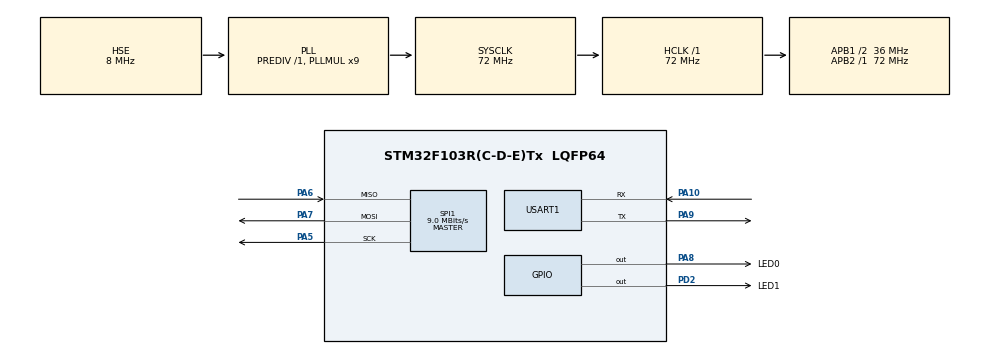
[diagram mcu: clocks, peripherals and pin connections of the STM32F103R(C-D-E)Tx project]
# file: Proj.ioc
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Mcu.Family=STM32F1
Mcu.Name=STM32F103R(C-D-E)Tx
Mcu.Package=LQFP64
NVIC.PriorityGroup=NVIC_PRIORITYGROUP_4
NVIC.TIM3_IRQn=true\:1\:0\:true\:false\:true\:true\:true\:true
NVIC.USART1_IRQn=true\:1\:0\:true\:false\:true\:true\:true\:true
PA10.Mode=Asynchronous
PA10.Signal=USART1_RX
PA13.Mode=Serial_Wire
PA13.Signal=SYS_JTMS-SWDIO
PA14.Mode=Serial_Wire
PA14.Signal=SYS_JTCK-SWCLK
PA5.Mode=Full_Duplex_Master
PA5.Signal=SPI1_SCK
PA6.Mode=Full_Duplex_Master
PA6.Signal=SPI1_MISO
PA7.Mode=Full_Duplex_Master
PA7.Signal=SPI1_MOSI
PA8.GPIO_Label=LED0
PA8.Signal=GPIO_Output
PA9.Mode=Asynchronous
PA9.Signal=USART1_TX
PD0-OSC_IN.Mode=HSE-External-Oscillator
PD0-OSC_IN.Signal=RCC_OSC_IN
PD1-OSC_OUT.Mode=HSE-External-Oscillator
PD1-OSC_OUT.Signal=RCC_OSC_OUT
PD2.GPIO_Label=LED1
PD2.Signal=GPIO_Output
ProjectManager.HeapSize=0x200
ProjectManager.StackSize=0x400
ProjectManager.TargetToolchain=STM32CubeIDE
RCC.AHBFreq_Value=72000000
RCC.APB1CLKDivider=RCC_HCLK_DIV2
RCC.APB1Freq_Value=36000000
RCC.APB1TimFreq_Value=72000000
RCC.APB2Freq_Value=72000000
RCC.APB2TimFreq_Value=72000000
RCC.HCLKFreq_Value=72000000
RCC.PLLMUL=RCC_PLL_MUL9
RCC.PLLSourceVirtual=RCC_PLLSOURCE_HSE
RCC.SYSCLKFreq_VALUE=72000000
RCC.SYSCLKSource=RCC_SYSCLKSOURCE_PLLCLK
RCC.USBFreq_Value=72000000
SPI1.BaudRatePrescaler=SPI_BAUDRATEPRESCALER_8
SPI1.CalculateBaudRate=9.0 MBits/s
SPI1.Direction=SPI_DIRECTION_2LINES
SPI1.Mode=SPI_MODE_MASTER
SPI1.VirtualType=VM_MASTER
TIM3.CounterMode=TIM_COUNTERMODE_UP
TIM3.Period=9999
TIM3.Prescaler=7199
USART1.VirtualMode=VM_ASYNC
VP_TIM3_VS_ClockSourceINT.Mode=Internal
board=custom

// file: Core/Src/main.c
/* USER CODE BEGIN Header */
/**
  ******************************************************************************
  * @file           : main.c
  * @brief          : Main program body
  ******************************************************************************
  * @attention
  *
  * Copyright (c) 2022 STMicroelectronics.
  * All rights reserved.
  *
  * This software is licensed under terms that can be found in the LICENSE file
  * in the root directory of this software component.
  * If no LICENSE file comes with this software, it is provided AS-IS.
  *
  ******************************************************************************
  */
/* USER CODE END Header */
#include "main.h"

/* USER CODE BEGIN Includes */
#include "characters.h"
#include "turnMethods.h"
/* Private includes ----------------------------------------------------------*/
/* USER CODE BEGIN Includes */
#include "sys.h"
#include "delay.h"
//#include "usart.h"
#include "led.h"
#include "key.h"
#include "lcd.h"
//#include "usmart.h"
#include "touch.h"
#include "24cxx.h"
#include "24l01.h" //通信驱动 基于spi进行通信
//#include "remote.h" 红外遥控驱动
/* USER CODE END Includes */

/* USER CODE BEGIN PTD */
extern unsigned char uRx_Data[1024];
extern unsigned char uLength;
/* 变量*/
int round = 0;
int getInstruction = -1;
uint8_t rxBuffer[20];
unsigned char info[1024];
// 玩家自己当下的属性显�??
extern struct character *thisTurnPlayer;
extern struct character *thisTurnEnemy;

extern unsigned char bmp_pika;// 皮卡丘头�??
extern unsigned char bmp_monster; // monster头像
extern unsigned char bmp_dragon;
extern unsigned char bmp_sword;
extern unsigned char bmp_bag;
extern unsigned char bmp_ability;
extern unsigned char bmp_run;

struct character A;
struct character B;
struct character Enemy;

struct skill A_skill[4];
struct skill B_skill[4];
struct item item[4];
// 总共有三个界面
int menu=1;

// mode=1我的回合
u8 key,mode;
u16 t=0;
u8 tmp_buf[33];
/* USER CODE END PTD */

/* USER CODE BEGIN PD */
unsigned char DATA_TO_SEND[800];
int state_num = 0;
u8 STATE[30];
UART_HandleTypeDef huart1;
/* USER CODE END PD */

/* USER CODE BEGIN PM */
//清空屏幕并在右上角显�???"RST"
void Load_Drow_Dialog(void)
{
	LCD_Clear(WHITE);//清屏
 	POINT_COLOR=BLUE;//设置字体为蓝�???
	LCD_ShowString(lcddev.width-24,0,200,16,16,"RST");//显示清屏区域
  	POINT_COLOR=RED;//设置画笔蓝色
}
////////////////////////////////////////////////////////////////////////////////
//电容触摸屏专有部�???
//画水平线
//x0,y0:坐标
//len:线长�???
//color:颜色
void gui_draw_hline(u16 x0,u16 y0,u16 len,u16 color)
{
	if(len==0)return;
	LCD_Fill(x0,y0,x0+len-1,y0,color);
}
//画实心圆
//x0,y0:坐标
//r:半径
//color:颜色
void gui_fill_circle(u16 x0,u16 y0,u16 r,u16 color)
{
	u32 i;
	u32 imax = ((u32)r*707)/1000+1;
	u32 sqmax = (u32)r*(u32)r+(u32)r/2;
	u32 x=r;
	gui_draw_hline(x0-r,y0,2*r,color);
	for (i=1;i<=imax;i++)
	{
		if ((i*i+x*x)>sqmax)// draw lines from outside
		{
 			if (x>imax)
			{
				gui_draw_hline (x0-i+1,y0+x,2*(i-1),color);
				gui_draw_hline (x0-i+1,y0-x,2*(i-1),color);
			}
			x--;
		}
		// draw lines from inside (center)
		gui_draw_hline(x0-x,y0+i,2*x,color);
		gui_draw_hline(x0-x,y0-i,2*x,color);
	}
}
//两个数之差的绝对�???
//x1,x2：需取差值的两个�???
//返回值：|x1-x2|
u16 my_abs(u16 x1,u16 x2)
{
	if(x1>x2)return x1-x2;
	else return x2-x1;
}
//画一条粗�???
//(x1,y1),(x2,y2):线条的起始坐�???
//size：线条的粗细程度
//color：线条的颜色

void screen_print(){
	LCD_Clear(WHITE);//清屏
	POINT_COLOR=BLUE;//设置字体为蓝�??
	LCD_ShowString(lcddev.width-24,0,200,16,16,"RST");//显示清屏区域
	// HP
	if(thisTurnPlayer==&A){
	sprintf(DATA_TO_SEND, "HP: %d",A.HP);
	LCD_ShowString(0,100,200,16,16, DATA_TO_SEND);
	}else{
		sprintf(DATA_TO_SEND, "HP: %d",B.HP);
		LCD_ShowString(0,100,200,16,16, DATA_TO_SEND);
	}

	sprintf(DATA_TO_SEND, "HP: %d",Enemy.HP);
	LCD_ShowString(121,100,200,16,16, DATA_TO_SEND);
	//防御
	if(thisTurnPlayer==&A){
	sprintf(DATA_TO_SEND, "Defense: %d",A.DEF);
	LCD_ShowString(0,120,200,16,16, DATA_TO_SEND);
	}else{
		sprintf(DATA_TO_SEND, "Defense: %d",B.DEF);
		LCD_ShowString(0,120,200,16,16, DATA_TO_SEND);
	}
	sprintf(DATA_TO_SEND, "Defense: %d",Enemy.DEF);
	LCD_ShowString(121,120,200,16,16, DATA_TO_SEND);
	//攻击
	if(thisTurnPlayer==&A){
	sprintf(DATA_TO_SEND, "Attack: %d",A.ATK);
	LCD_ShowString(0,140,200,16,16, DATA_TO_SEND);
	}else{
		sprintf(DATA_TO_SEND, "Attack: %d",B.ATK);
		LCD_ShowString(0,140,200,16,16, DATA_TO_SEND);
	}
	sprintf(DATA_TO_SEND, "Attack: %d",Enemy.ATK);
	LCD_ShowString(121,140,200,16,16, DATA_TO_SEND);
	//名字
	if(thisTurnPlayer==&A){
	sprintf(DATA_TO_SEND, "Name: %s",A.name);
	LCD_ShowString(0,160,200,16,16, DATA_TO_SEND);
	}else{
		sprintf(DATA_TO_SEND, "Name: %s",B.name);
		LCD_ShowString(0,160,200,16,16, DATA_TO_SEND);
	}
	sprintf(DATA_TO_SEND, "Name: %s",Enemy.name);
	LCD_ShowString(121,160,200,16,16, DATA_TO_SEND);
	//法力
	if(thisTurnPlayer==&A){
	sprintf(DATA_TO_SEND, "MP: %d",A.MP);
	LCD_ShowString(0,180,200,16,16, DATA_TO_SEND);
	}else{
		sprintf(DATA_TO_SEND, "MP: %d",B.MP);
		LCD_ShowString(0,180,200,16,16, DATA_TO_SEND);
	}
	sprintf(DATA_TO_SEND, "MP: %d",Enemy.MP);
	LCD_ShowString(121,180,200,16,16, DATA_TO_SEND);

	LCD_ShowString(0, lcddev.height-24, 200, 16, 16, STATE);

	// 绘制游戏界面
	LCD_DrawLine(0,270,240,270);// �??个横�??
	LCD_DrawLine(120,0,120,320);//三个竖线
	LCD_DrawLine(60,270,60,320);
	LCD_DrawLine(180,270,180,320);

	// 绘制角色
	// 绘制自己角色
	if (thisTurnPlayer==&A){
		LCD_ShowPika(0,0,(u8 **)bmp_pika,80,100,1);
	}else if(thisTurnPlayer==&B){
		LCD_ShowMonster(0,0,(u8 **)bmp_monster,80,100,1);
	}
	// 绘制对手角色
	if(thisTurnEnemy==&A){
		LCD_ShowPika(120,0,(u8 **)bmp_pika,80,100,1);
	}else if(thisTurnEnemy==&B){
		LCD_ShowMonster(120,0,(u8 **)bmp_monster,80,100,1);
	}

	LCD_ShowSword(10,270,(u8 **)bmp_sword,40,25,1);
	LCD_ShowAbility(75,270,(u8 **)bmp_ability,40,25,1);
	LCD_ShowBag(190,270,(u8 **)bmp_bag,40,25,1);
	LCD_ShowRun(120,270,(u8 **)bmp_run,40,25,1);

	POINT_COLOR=RED;//设置画笔为红�??

}

void screen_norm_print(){
//	LCD_Clear(WHITE);//清屏
	POINT_COLOR=BLUE;//设置字体为蓝�??
	LCD_ShowString(lcddev.width-24,0,200,16,16,"RST");//显示清屏区域

	// HP
	if(thisTurnPlayer==&A){
	sprintf(DATA_TO_SEND, "HP: %d",A.HP);
	LCD_ShowString(0,100,200,16,16, DATA_TO_SEND);
	}else{
		sprintf(DATA_TO_SEND, "HP: %d",B.HP);
		LCD_ShowString(0,100,200,16,16, DATA_TO_SEND);
	}

	sprintf(DATA_TO_SEND, "HP: %d",Enemy.HP);
	LCD_ShowString(121,100,200,16,16, DATA_TO_SEND);
	//防御
	if(thisTurnPlayer==&A){
	sprintf(DATA_TO_SEND, "Defense: %d",A.DEF);
	LCD_ShowString(0,120,200,16,16, DATA_TO_SEND);
	}else{
		sprintf(DATA_TO_SEND, "Defense: %d",B.DEF);
		LCD_ShowString(0,120,200,16,16, DATA_TO_SEND);
	}
	sprintf(DATA_TO_SEND, "Defense: %d",Enemy.DEF);
	LCD_ShowString(121,120,200,16,16, DATA_TO_SEND);
	//攻击
	if(thisTurnPlayer==&A){
	sprintf(DATA_TO_SEND, "Attack: %d",A.ATK);
	LCD_ShowString(0,140,200,16,16, DATA_TO_SEND);
	}else{
		sprintf(DATA_TO_SEND, "Attack: %d",B.ATK);
		LCD_ShowString(0,140,200,16,16, DATA_TO_SEND);
	}
	sprintf(DATA_TO_SEND, "Attack: %d",Enemy.ATK);
	LCD_ShowString(121,140,200,16,16, DATA_TO_SEND);
	//名字
	if(thisTurnPlayer==&A){
	sprintf(DATA_TO_SEND, "Name: %s",A.name);
	LCD_ShowString(0,160,200,16,16, DATA_TO_SEND);
	}else{
		sprintf(DATA_TO_SEND, "Name: %s",B.name);
		LCD_ShowString(0,160,200,16,16, DATA_TO_SEND);
	}
	sprintf(DATA_TO_SEND, "Name: %s",Enemy.name);
	LCD_ShowString(121,160,200,16,16, DATA_TO_SEND);
	//法力
	if(thisTurnPlayer==&A){
	sprintf(DATA_TO_SEND, "MP: %d",A.MP);
	LCD_ShowString(0,180,200,16,16, DATA_TO_SEND);
	}else{
		sprintf(DATA_TO_SEND, "MP: %d",B.MP);
		LCD_ShowString(0,180,200,16,16, DATA_TO_SEND);
	}
	sprintf(DATA_TO_SEND, "MP: %d",Enemy.MP);
	LCD_ShowString(121,180,200,16,16, DATA_TO_SEND);

	// 回合
	if(mode==1){
		sprintf(DATA_TO_SEND, "Your Turn!");
		LCD_ShowString(0,200,200,16,16, DATA_TO_SEND);
	}else{
		sprintf(DATA_TO_SEND, "Your Turn!");
		LCD_ShowString(121,200,200,16,16, DATA_TO_SEND);
	}

	LCD_ShowString(0, lcddev.height-24, 200, 16, 16, STATE);

	// 绘制游戏界面
	LCD_DrawLine(0,270,240,270);// �??个横�??
	LCD_DrawLine(120,0,120,320);//三个竖线
	LCD_DrawLine(60,270,60,320);
	LCD_DrawLine(180,270,180,320);

	// 绘制自己角色
	if (thisTurnPlayer==&A){
		LCD_ShowPika(0,0,(u8 **)bmp_pika,80,100,1);
	}else if(thisTurnPlayer==&B){
		LCD_ShowMonster(0,0,(u8 **)bmp_monster,80,100,1);
	}
	// 绘制对手角色
	if(thisTurnEnemy==&A){
		LCD_ShowPika(120,0,(u8 **)bmp_pika,80,100,1);
	}else if(thisTurnEnemy==&B){
		LCD_ShowMonster(120,0,(u8 **)bmp_monster,80,100,1);
	}

	// 绘制图标
	LCD_ShowSword(10,270,(u8 **)bmp_sword,40,25,1);// nengli
	LCD_ShowAbility(75,270,(u8 **)bmp_ability,40,25,1);// huan ren
	LCD_ShowBag(190,270,(u8 **)bmp_bag,40,25,1);// bag
	LCD_ShowRun(120,270,(u8 **)bmp_run,40,25,1);// run

	POINT_COLOR=RED;//设置画笔为红�??

}

void screen_menu2_print(){//第二个界�??

		POINT_COLOR=BLUE;//设置字体为蓝�??
		LCD_ShowString(lcddev.width-24,0,200,16,16,"RST");//显示清屏区域

		// HP
		if(thisTurnPlayer==&A){
		sprintf(DATA_TO_SEND, "HP: %d",A.HP);
		LCD_ShowString(0,100,200,16,16, DATA_TO_SEND);
		}else{
			sprintf(DATA_TO_SEND, "HP: %d",B.HP);
			LCD_ShowString(0,100,200,16,16, DATA_TO_SEND);
		}

		sprintf(DATA_TO_SEND, "HP: %d",Enemy.HP);
		LCD_ShowString(121,100,200,16,16, DATA_TO_SEND);
		//防御
		if(thisTurnPlayer==&A){
		sprintf(DATA_TO_SEND, "Defense: %d",A.DEF);
		LCD_ShowString(0,120,200,16,16, DATA_TO_SEND);
		}else{
			sprintf(DATA_TO_SEND, "Defense: %d",B.DEF);
			LCD_ShowString(0,120,200,16,16, DATA_TO_SEND);
		}
		sprintf(DATA_TO_SEND, "Defense: %d",Enemy.DEF);
		LCD_ShowString(121,120,200,16,16, DATA_TO_SEND);
		//攻击
		if(thisTurnPlayer==&A){
		sprintf(DATA_TO_SEND, "Attack: %d",A.ATK);
		LCD_ShowString(0,140,200,16,16, DATA_TO_SEND);
		}else{
			sprintf(DATA_TO_SEND, "Attack: %d",B.ATK);
			LCD_ShowString(0,140,200,16,16, DATA_TO_SEND);
		}
		sprintf(DATA_TO_SEND, "Attack: %d",Enemy.ATK);
		LCD_ShowString(121,140,200,16,16, DATA_TO_SEND);
		//名字
		if(thisTurnPlayer==&A){
		sprintf(DATA_TO_SEND, "Name: %s",A.name);
		LCD_ShowString(0,160,200,16,16, DATA_TO_SEND);
		}else{
			sprintf(DATA_TO_SEND, "Name: %s",B.name);
			LCD_ShowString(0,160,200,16,16, DATA_TO_SEND);
		}
		sprintf(DATA_TO_SEND, "Name: %s",Enemy.name);
		LCD_ShowString(121,160,200,16,16, DATA_TO_SEND);
		//法力
		if(thisTurnPlayer==&A){
		sprintf(DATA_TO_SEND, "MP: %d",A.MP);
		LCD_ShowString(0,180,200,16,16, DATA_TO_SEND);
		}else{
			sprintf(DATA_TO_SEND, "MP: %d",B.MP);
			LCD_ShowString(0,180,200,16,16, DATA_TO_SEND);
		}
		sprintf(DATA_TO_SEND, "MP: %d",Enemy.MP);
		LCD_ShowString(121,180,200,16,16, DATA_TO_SEND);

		LCD_ShowString(0, lcddev.height-24, 200, 16, 16, STATE);

		// 绘制游戏界面
		LCD_DrawLine(0,270,240,270);// �??个横�??
		LCD_DrawLine(120,0,120,320);//三个竖线
		LCD_DrawLine(60,270,60,320);
		LCD_DrawLine(180,270,180,320);

		// 绘制自己角色
		if (thisTurnPlayer==&A){
			LCD_ShowPika(0,0,(u8 **)bmp_pika,80,100,1);
		}else if(thisTurnPlayer==&B){
			LCD_ShowMonster(0,0,(u8 **)bmp_monster,80,100,1);
		}
		// 绘制对手角色
		if(thisTurnEnemy==&A){
			LCD_ShowPika(120,0,(u8 **)bmp_pika,80,100,1);
		}else if(thisTurnEnemy==&B){
			LCD_ShowMonster(120,0,(u8 **)bmp_monster,80,100,1);
		}

		// ability
		if(thisTurnPlayer==&A){
			LCD_ShowString(1,280,200,16,16, A_skill[0].name);
		}else{
			LCD_ShowString(1,280,200,16,16, B_skill[0].name);
		}
		if(thisTurnPlayer==&A){
			LCD_ShowString(61,280,200,16,16, A_skill[1].name);
			}else{
			LCD_ShowString(61,280,200,16,16, B_skill[1].name);
		}
		if(thisTurnPlayer==&A){
			LCD_ShowString(121,280,200,16,16, A_skill[2].name);
		}else{
			LCD_ShowString(121,280,200,16,16, B_skill[2].name);
		}

		sprintf(DATA_TO_SEND, "EXIT");
		LCD_ShowString(181,280,200,16,16, DATA_TO_SEND);

		POINT_COLOR=RED;//设置画笔为红�??
}
void screen_menu3_print(){//第三个界�??

		POINT_COLOR=BLUE;//设置字体为蓝�??
		LCD_ShowString(lcddev.width-24,0,200,16,16,"RST");//显示清屏区域

		// HP
		if(thisTurnPlayer==&A){
		sprintf(DATA_TO_SEND, "HP: %d",A.HP);
		LCD_ShowString(0,100,200,16,16, DATA_TO_SEND);
		}else{
			sprintf(DATA_TO_SEND, "HP: %d",B.HP);
			LCD_ShowString(0,100,200,16,16, DATA_TO_SEND);
		}

		sprintf(DATA_TO_SEND, "HP: %d",Enemy.HP);
		LCD_ShowString(121,100,200,16,16, DATA_TO_SEND);
		//防御
		if(thisTurnPlayer==&A){
		sprintf(DATA_TO_SEND, "Defense: %d",A.DEF);
		LCD_ShowString(0,120,200,16,16, DATA_TO_SEND);
		}else{
			sprintf(DATA_TO_SEND, "Defense: %d",B.DEF);
			LCD_ShowString(0,120,200,16,16, DATA_TO_SEND);
		}
		sprintf(DATA_TO_SEND, "Defense: %d",Enemy.DEF);
		LCD_ShowString(121,120,200,16,16, DATA_TO_SEND);
		//攻击
		if(thisTurnPlayer==&A){
		sprintf(DATA_TO_SEND, "Attack: %d",A.ATK);
		LCD_ShowString(0,140,200,16,16, DATA_TO_SEND);
		}else{
			sprintf(DATA_TO_SEND, "Attack: %d",B.ATK);
			LCD_ShowString(0,140,200,16,16, DATA_TO_SEND);
		}
		sprintf(DATA_TO_SEND, "Attack: %d",Enemy.ATK);
		LCD_ShowString(121,140,200,16,16, DATA_TO_SEND);
		//名字
		if(thisTurnPlayer==&A){
		sprintf(DATA_TO_SEND, "Name: %s",A.name);
		LCD_ShowString(0,160,200,16,16, DATA_TO_SEND);
		}else{
			sprintf(DATA_TO_SEND, "Name: %s",B.name);
			LCD_ShowString(0,160,200,16,16, DATA_TO_SEND);
		}
		sprintf(DATA_TO_SEND, "Name: %s",Enemy.name);
		LCD_ShowString(121,160,200,16,16, DATA_TO_SEND);
		//法力
		if(thisTurnPlayer==&A){
		sprintf(DATA_TO_SEND, "MP: %d",A.MP);
		LCD_ShowString(0,180,200,16,16, DATA_TO_SEND);
		}else{
			sprintf(DATA_TO_SEND, "MP: %d",B.MP);
			LCD_ShowString(0,180,200,16,16, DATA_TO_SEND);
		}
		sprintf(DATA_TO_SEND, "MP: %d",Enemy.MP);
		LCD_ShowString(121,180,200,16,16, DATA_TO_SEND);

		LCD_ShowString(0, lcddev.height-24, 200, 16, 16, STATE);

		// 绘制游戏界面
		LCD_DrawLine(0,270,240,270);// �??个横�??
		LCD_DrawLine(120,0,120,320);//三个竖线
		LCD_DrawLine(60,270,60,320);
		LCD_DrawLine(180,270,180,320);

		// 绘制角色，图�??
		// 绘制自己角色
		if (thisTurnPlayer==&A){
			LCD_ShowPika(0,0,(u8 **)bmp_pika,80,100,1);
		}else if(thisTurnPlayer==&B){
			LCD_ShowMonster(0,0,(u8 **)bmp_monster,80,100,1);
		}
		// 绘制对手角色
		if(thisTurnEnemy==&A){
			LCD_ShowPika(120,0,(u8 **)bmp_pika,80,100,1);
		}else if(thisTurnEnemy==&B){
			LCD_ShowMonster(120,0,(u8 **)bmp_monster,80,100,1);
		}
		//bag
		LCD_ShowString(1,280,200,16,16, item[0].name);
		LCD_ShowString(61,280,200,16,16, item[1].name);
		LCD_ShowString(121,280,200,16,16, item[2].name);
		sprintf(DATA_TO_SEND, "EXIT");
		LCD_ShowString(181,280,200,16,16, DATA_TO_SEND);
		POINT_COLOR=RED;//设置画笔为红�??
}

void change_state(){
	if(state_num == 0){
		state_num = 1;
		sprintf(STATE, "STATE: ON");
	}else{
		state_num = 0;
		sprintf(STATE, "STATE: OFF");
	}
}
//通信部分
void modeSwitch(void)
{
		if(mode == 0){ //µ±Ç°Îª½ÓÊÜÄ£Ê½
			mode++;
			NRF24L01_TX_Mode(0);

		}else if(mode == 1){ //µ±Ç°Îª·¢ËÍÄ£Ê½
			mode = 0;
			NRF24L01_RX_Mode(0);
		}

	}

void sendData(u8 a, u8 b, u8 c){
	 	key = 0;
		while(1)
		{
			if(NRF24L01_TxPacket(tmp_buf)==TX_OK)
			{
				LCD_ShowString(60,170,239,32,16,"Sended DATA:");
				LCD_ShowString(0,190,239,32,16,tmp_buf);
				key++;

				tmp_buf[0]=a;
				tmp_buf[1]=b;
				tmp_buf[2]=c;

				tmp_buf[32]=0;//¼ÓÈë½áÊø·û
					if(key ==2){ //Ñ­»·Á½´Î·ÀÖ¹Ã»·¢³É¹¦
						modeSwitch();
						break;
					}

			}else
			{
 				LCD_ShowString(60,170,239,32,16,"Send Failed ");
				LCD_Fill(0,188,240,218,WHITE);//Çå¿ÕÉÏÃæµÄÏÔÊ¾
			};
			LED0=!LED0;
			delay_ms(1500);
		};
 }

 void receiveData(void){
	 while(1){
	 if(NRF24L01_RxPacket(tmp_buf)==0)//Ò»µ©½ÓÊÕµ½ÐÅÏ¢,ÔòÏÔÊ¾³öÀ´.
			{
		//receive data code  处理tmp_buf前三位数据

				break;
			}
		}
	 modeSwitch();
 }

//
void lcd_draw_bline(u16 x1, u16 y1, u16 x2, u16 y2,u8 size,u16 color)
{
	u16 t;
	int xerr=0,yerr=0,delta_x,delta_y,distance;
	int incx,incy,uRow,uCol;
	if(x1<size|| x2<size||y1<size|| y2<size)return;
	delta_x=x2-x1; //计算坐标增量
	delta_y=y2-y1;
	uRow=x1;
	uCol=y1;
	if(delta_x>0)incx=1; //设置单步方向
	else if(delta_x==0)incx=0;//垂直�???
	else {incx=-1;delta_x=-delta_x;}
	if(delta_y>0)incy=1;
	else if(delta_y==0)incy=0;//水平�???
	else{incy=-1;delta_y=-delta_y;}
	if( delta_x>delta_y)distance=delta_x; //选取基本增量坐标�???
	else distance=delta_y;
	for(t=0;t<=distance+1;t++ )//画线输出
	{
		gui_fill_circle(uRow,uCol,size,color);//画点
		xerr+=delta_x ;
		yerr+=delta_y ;
		if(xerr>distance)
		{
			xerr-=distance;
			uRow+=incx;
		}
		if(yerr>distance)
		{
			yerr-=distance;
			uCol+=incy;
		}
	}
}
////////////////////////////////////////////////////////////////////////////////
//5个触控点的颜�???(电容触摸屏用)
const u16 POINT_COLOR_TBL[5]={RED,GREEN,BLUE,BROWN,GRED};

//电阻触摸屏测试函�???
void rtp_test(void)
{
	u8 key;
	u8 i=0;
	while(1)
	{
	 	key=KEY_Scan(0);
		tp_dev.scan(0);
		if(menu==1){
			screen_norm_print();
		}else if(menu==2){
			screen_menu2_print();
		}else if(menu==3){
			screen_menu3_print();
		}

		if(tp_dev.sta&TP_PRES_DOWN)			//触摸屏被按下
		{
		 	if(tp_dev.x[0]<lcddev.width&&tp_dev.y[0]<lcddev.height)
			{
				if(tp_dev.x[0]>(lcddev.width-24)&&tp_dev.y[0]<16){
					screen_print();//清除
				}
				else if(tp_dev.x[0]>0&&tp_dev.y[0]>270&&tp_dev.x[0]<60&&tp_dev.y[0]<lcddev.height){
					// �??1的按�??
					if(menu==1){
						LCD_Clear(WHITE);//清屏
						screen_menu2_print();//到界�??2
						menu=2;
						getInstruction = 0; //
					}else if(menu==2){
						//�??1�??�??
						int tempval;
						if(thisTurnPlayer==&A){
							struct skill *Sp;
							Sp = &A_skill[0];
							if (judgeMP(thisTurnPlayer, Sp)){
								tempval = attackSkill(thisTurnPlayer, Sp);//将该值用通信传出
								beAttacked(thisTurnEnemy, tempval);
								normailzeATKValue(thisTurnPlayer);

								printCharaterState();
								getInstruction = -1;
								round++;
								menu=1;
								LCD_Clear(WHITE);//清屏
							}
						}else{
							struct skill *Sp;
							Sp = &B_skill[0];
							if (judgeMP(thisTurnPlayer, Sp)){
								tempval = attackSkill(thisTurnPlayer, Sp);//将该值用通信传出
								beAttacked(thisTurnEnemy, tempval);
								normailzeATKValue(thisTurnPlayer);

								printCharaterState();
								getInstruction = -1;
								round++;
								menu=1;
								LCD_Clear(WHITE);//清屏
							}
						}

						sprintf(DATA_TO_SEND, "using ability1");
						HAL_UART_Transmit(&huart1, (uint8_t*)DATA_TO_SEND, strlen(DATA_TO_SEND), HAL_MAX_DELAY);

					}else if(menu==3){
						struct item *Ip;
						Ip = &item[0];
						if(judgeCount(Ip)){
							useItem(thisTurnPlayer,Ip);

							printCharaterState();
							getInstruction = -1;
							round++;
							menu=1;
							LCD_Clear(WHITE);//清屏
						}
						sprintf(DATA_TO_SEND, "using item1");
						HAL_UART_Transmit(&huart1, (uint8_t*)DATA_TO_SEND, strlen(DATA_TO_SEND), HAL_MAX_DELAY);
					}
				}
				else if(tp_dev.x[0]>60&&tp_dev.y[0]>270&&tp_dev.x[0]<120&&tp_dev.y[0]<lcddev.height){
					// �??2的按�??
					if(menu==1){
						// 换人
						sprintf(DATA_TO_SEND, "exchange");
						HAL_UART_Transmit(&huart1, (uint8_t*)DATA_TO_SEND, strlen(DATA_TO_SEND), HAL_MAX_DELAY);
						getInstruction = 2;
						changeCharacter();
						LCD_Clear(WHITE);//清屏
					}else if(menu==2){
						if(thisTurnPlayer==&A){
							struct skill *Sp;
							Sp = &A_skill[1];
							if (judgeMP(thisTurnPlayer, Sp)){
								int tempval;
								tempval = attackSkill(thisTurnPlayer, Sp);//将该值用通信传出
								beAttacked(thisTurnEnemy, tempval);
								normailzeATKValue(thisTurnPlayer);

								printCharaterState();
								getInstruction = -1;
								round++;
								menu=1;
								LCD_Clear(WHITE);//清屏
							}
						}else{
							struct skill *Sp;
							Sp = &B_skill[1];
							if (judgeMP(thisTurnPlayer, Sp)){
								int tempval;
								tempval = attackSkill(thisTurnPlayer, Sp);//将该值用通信传出
								beAttacked(thisTurnEnemy, tempval);
								normailzeATKValue(thisTurnPlayer);

								printCharaterState();
								getInstruction = -1;
								round++;
								menu=1;
								LCD_Clear(WHITE);//清屏
							}
						}

						sprintf(DATA_TO_SEND, "using ability2");
						HAL_UART_Transmit(&huart1, (uint8_t*)DATA_TO_SEND, strlen(DATA_TO_SEND), HAL_MAX_DELAY);

					}else if(menu==3){

						struct item *Ip;
						Ip = &item[1];
						if(judgeCount(Ip)){
							useItem(thisTurnPlayer,Ip);

							printCharaterState();
							getInstruction = -1;
							round++;
							menu=1;
							LCD_Clear(WHITE);//清屏
						}
						sprintf(DATA_TO_SEND, "using item2");
						HAL_UART_Transmit(&huart1, (uint8_t*)DATA_TO_SEND, strlen(DATA_TO_SEND), HAL_MAX_DELAY);

					}

				}else if(tp_dev.x[0]>120&&tp_dev.y[0]>270&&tp_dev.x[0]<180&&tp_dev.y[0]<lcddev.height){

					if(menu==1){
						getInstruction = 3;
						sprintf(DATA_TO_SEND, "escape");
						HAL_UART_Transmit(&huart1, (uint8_t*)DATA_TO_SEND, strlen(DATA_TO_SEND), HAL_MAX_DELAY);
						LCD_Clear(WHITE);//清屏
					}else if(menu==2){
						if(thisTurnPlayer==&A){
							struct skill *Sp;
							Sp = &A_skill[2];
							if (judgeMP(thisTurnPlayer, Sp)){
								int tempval;
								tempval = attackSkill(thisTurnPlayer, Sp);//将该值用通信传出
								beAttacked(thisTurnEnemy, tempval);
								normailzeATKValue(thisTurnPlayer);

								printCharaterState();
								getInstruction = -1;
								round++;
								menu=1;
								LCD_Clear(WHITE);//清屏
							}
						}else{
							struct skill *Sp;
							Sp = &B_skill[2];
							if (judgeMP(thisTurnPlayer, Sp)){
								int tempval;
								tempval = attackSkill(thisTurnPlayer, Sp);//将该值用通信传出
								beAttacked(thisTurnEnemy, tempval);
								normailzeATKValue(thisTurnPlayer);

								printCharaterState();
								getInstruction = -1;
								round++;

								menu=1;
								LCD_Clear(WHITE);//清屏
							}
						}
						sprintf(DATA_TO_SEND, "using ability3");
						HAL_UART_Transmit(&huart1, (uint8_t*)DATA_TO_SEND, strlen(DATA_TO_SEND), HAL_MAX_DELAY);

					}else if(menu==3){
						struct item *Ip;
						Ip = &item[2];
						if(judgeCount(Ip)){
							useItem(thisTurnPlayer,Ip);

							printCharaterState();
							getInstruction = -1;
							round++;
							menu=1;
							LCD_Clear(WHITE);//清屏
						}
						sprintf(DATA_TO_SEND, "using item3");
						HAL_UART_Transmit(&huart1, (uint8_t*)DATA_TO_SEND, strlen(DATA_TO_SEND), HAL_MAX_DELAY);

					}
				}
				else if(tp_dev.x[0]>180&&tp_dev.y[0]>270&&tp_dev.x[0]<lcddev.width&&tp_dev.y[0]<lcddev.height){
					// �??右边的按�??
					if(menu==2){
						sprintf(DATA_TO_SEND, "EXIT1");
						HAL_UART_Transmit(&huart1, (uint8_t*)DATA_TO_SEND, strlen(DATA_TO_SEND), HAL_MAX_DELAY);
						screen_print();
						menu=1;
					}else if(menu==1){
						LCD_Clear(WHITE);//清屏
						screen_menu3_print();
						menu=3;
					}else if(menu==3){
						sprintf(DATA_TO_SEND, "EXIT2");
						HAL_UART_Transmit(&huart1, (uint8_t*)DATA_TO_SEND, strlen(DATA_TO_SEND), HAL_MAX_DELAY);
						screen_print();
						menu=1;
					}

				}
				else if(tp_dev.x[0]>0&&tp_dev.y[0]>lcddev.height-24&&tp_dev.x[0]<80&&tp_dev.y[0]<lcddev.height){
					change_state();
				}
				else {
					TP_Draw_Big_Point(tp_dev.x[0],tp_dev.y[0],RED);//画图
				}
			}
		}else delay_ms(20);	//没有按键按下的时�??? 本来�??10
		if(key==KEY0_PRES)	//KEY0按下,则执行校准程�???
		{

//			LCD_Clear(WHITE);	//清屏
//		    TP_Adjust();  		//屏幕校准
//			TP_Save_Adjdata();
//			Load_Drow_Dialog();
		}
		i++;
		// if(i%20==0)LED0=!LED0;
	}
}
//电容触摸屏测试函�???
void ctp_test(void)
{
	u8 t=0;
	u8 i=0;
 	u16 lastpos[5][2];		//�???后一次的数据
	while(1)
	{
		tp_dev.scan(0);
		for(t=0;t<5;t++)
		{
			if((tp_dev.sta)&(1<<t))
			{
                //printf("X坐标:%d,Y坐标:%d\r\n",tp_dev.x[0],tp_dev.y[0]);
				if(tp_dev.x[t]<lcddev.width&&tp_dev.y[t]<lcddev.height)
				{
					if(lastpos[t][0]==0XFFFF)
					{
						lastpos[t][0] = tp_dev.x[t];
						lastpos[t][1] = tp_dev.y[t];
					}

					lcd_draw_bline(lastpos[t][0],lastpos[t][1],tp_dev.x[t],tp_dev.y[t],2,POINT_COLOR_TBL[t]);//画线
					lastpos[t][0]=tp_dev.x[t];
					lastpos[t][1]=tp_dev.y[t];
					if(tp_dev.x[t]>(lcddev.width-24)&&tp_dev.y[t]<20)
					{
						Load_Drow_Dialog();//清除
					}
				}
			}else lastpos[t][0]=0XFFFF;
		}

		delay_ms(5);i++;
		// if(i%20==0)LED0=!LED0;
	}
}

/* USER CODE END PM */

SPI_HandleTypeDef hspi1;

TIM_HandleTypeDef htim3;

UART_HandleTypeDef huart1;

void SystemClock_Config(void);
static void MX_GPIO_Init(void);
static void MX_SPI1_Init(void);
static void MX_USART1_UART_Init(void);
static void MX_TIM3_Init(void);

int main(void)
{

  /* MCU Configuration--------------------------------------------------------*/

  /* Reset of all peripherals, Initializes the Flash interface and the Systick. */
  HAL_Init();

  /* USER CODE BEGIN Init */
  Stm32_Clock_Init(RCC_PLL_MUL9);   	//设置时钟,72M
	delay_init(72);               		//初始化延时函�???
//	uart_init(115200);					//初始化串�???
//	usmart_dev.init(84); 		  	  	//初始化USMART
	LED_Init();							//初始化LED
	KEY_Init();							//初始化按�???
	LCD_Init();							//初始化LCD
	tp_dev.init();				   		//触摸屏初始化
	NRF24L01_Init();    	//初始化³õÊ¼»¯NRF24L01
  /* USER CODE END Init */

  /* Configure the system clock */
  SystemClock_Config();

  /* Initialize all configured peripherals */
  MX_GPIO_Init();
  MX_SPI1_Init();
  MX_USART1_UART_Init();
  MX_TIM3_Init();
  /* USER CODE BEGIN 2 */
  //加载两个人物
  HAL_TIM_Base_Start_IT(&htim3);
  HAL_UART_Receive_IT(&huart1, (uint8_t* )rxBuffer,1);

  unsigned char name1[20];
  sprintf(name1, "Pika");
  A = newCharacter(name1,4,100, 100, 40, 40);
  sprintf(name1, "Mon");
  B = newCharacter(name1,3,100, 100, 40, 40);

  sprintf(name1, "GG");
  Enemy = newCharacter(name1,2,9999, 9999, 9999, 9999);
  HAL_GPIO_TogglePin(LED0_GPIO_Port, LED0_Pin);
  HAL_GPIO_TogglePin(LED1_GPIO_Port, LED1_Pin);

  unsigned char names[20];
  unsigned char *p;
  sprintf(names, "Collision");
  p = names;
  A_skill[0] = newSkill(p, 9, 20, 10, 0);
  sprintf(names, "Heal");
  p = names;
  A_skill[1] = newSkill(p, 4, 20, 15, 5);
  sprintf(names, "Brave");
  p = names;
  A_skill[2] = newSkill(p, 5, 10, 8, 2);
  sprintf(names, "Threaten");
  p = names;
  A_skill[3] = newSkill(p, 8, 10, 8, 4);

  sprintf(names, "Jerk");
  p = names;
  B_skill[0] = newSkill(p, 4, 20, 6, 0);
  sprintf(names, "Sleep");
  p = names;
  B_skill[1] = newSkill(p, 5, 20, 15, 5);
  sprintf(names, "Boki");
  p = names;
  B_skill[2] = newSkill(p, 4, 10, 14, 2);
  sprintf(names, "Ahhh");
  p = names;
  B_skill[3] = newSkill(p, 4, 10, 10, 4);

  sprintf(names, "Add_HP");
  p = names;
  item[0] = newItem(p, 6, 30, 3, 0);

  sprintf(names, "Add_MP");
  p = names;
  item[1] = newItem(p, 6, 30, 3, 1);

  sprintf(names, "Add_ATK");
  p = names;
  item[2] = newItem(p, 7, 2, 3, 2);

  sprintf(names, "Add_DEF");
  p = names;
  item[3] = newItem(p, 7, 2, 3, 3);

  POINT_COLOR=RED;
  	LCD_ShowString(30,50,200,16,16,"Mini STM32");
  	LCD_ShowString(30,70,200,16,16,"TOUCH TEST");
  	LCD_ShowString(30,90,200,16,16,"ATOM@ALIENTEK");
  	LCD_ShowString(30,110,200,16,16,"2019/11/15");
	while(NRF24L01_Check())	//¼ì²éNRF24L01ÊÇ·ñÔÚÎ».
	{
		LCD_ShowString(60,130,200,16,16,"NRF24L01 Error");
		delay_ms(200);
		LCD_Fill(60,130,239,130+16,WHITE);
 		delay_ms(200);
	}
	LCD_ShowString(60,130,200,16,16,"NRF24L01 OK");
	while(1)//ÔÚ¸Ã²¿·ÖÈ·¶¨½øÈëÄÄ¸öÄ£Ê½!
		{
			key=KEY_Scan(0);
			if(key==KEY0_PRES)
			{
				mode=0;
				break;
			}else if(key==KEY1_PRES)
			{
				mode=1;
				break;
			}
			t++;
			if(t==100)LCD_ShowString(10,150,230,16,16,"KEY0:RX_Mode  KEY1:TX_Mode"); //ÉÁË¸ÏÔÊ¾ÌáÊ¾ÐÅÏ¢
	 		if(t==200)
			{
				LCD_Fill(10,150,230,150+16,WHITE);
				t=0;
			}
			delay_ms(5);
		}
	 	LCD_Fill(10,150,240,166,WHITE);//Çå¿ÕÉÏÃæµÄÏÔÊ¾
	 	POINT_COLOR=BLUE;//ÉèÖÃ×ÖÌåÎªÀ¶É«
		if(mode==0)//RXÄ£Ê½
		{
			LCD_ShowString(60,150,200,16,16,"NRF24L01 RX_Mode");
	//LCD_ShowString(60,170,200,16,16,"Received DATA:");
			NRF24L01_RX_Mode(0);
	//		while(1)
	//		{
	//			if(NRF24L01_RxPacket(tmp_buf)==0)//Ò»µ©½ÓÊÕµ½ÐÅÏ¢,ÔòÏÔÊ¾³öÀ´.
	//			{
	//				tmp_buf[32]=0;//¼ÓÈë×Ö·û´®½áÊø·û
	//				LCD_ShowString(0,190,239,32,16,tmp_buf);
	//			}else delay_us(100);
	//			t++;
	//			if(t==10000)//´óÔ¼1sÖÓ¸Ä±äÒ»´Î×´Ì¬
	//			{
	//				t=0;
	//				LED0=!LED0;
	//			}
	//		};

			//接收端
			LCD_Clear(WHITE);//清屏
			rtp_test();

		}else//TXÄ£Ê½
		{
			LCD_ShowString(60,150,200,16,16,"NRF24L01 TX_Mode");
			NRF24L01_TX_Mode(0);
			//发送
			LCD_Clear(WHITE);//清屏
			rtp_test();
		}

   	Load_Drow_Dialog();

//  	if(tp_dev.touchtype&0X80)ctp_test();//电容�??
//  	else rtp_test(); 					//电阻�??
  /* USER CODE END 2 */

  /* Infinite loop */

}

void SystemClock_Config(void)
{
  RCC_OscInitTypeDef RCC_OscInitStruct = {0};
  RCC_ClkInitTypeDef RCC_ClkInitStruct = {0};

  /** Initializes the RCC Oscillators according to the specified parameters
  * in the RCC_OscInitTypeDef structure.
  */
  RCC_OscInitStruct.OscillatorType = RCC_OSCILLATORTYPE_HSE;
  RCC_OscInitStruct.HSEState = RCC_HSE_ON;
  RCC_OscInitStruct.HSEPredivValue = RCC_HSE_PREDIV_DIV1;
  RCC_OscInitStruct.HSIState = RCC_HSI_ON;
  RCC_OscInitStruct.PLL.PLLState = RCC_PLL_ON;
  RCC_OscInitStruct.PLL.PLLSource = RCC_PLLSOURCE_HSE;
  RCC_OscInitStruct.PLL.PLLMUL = RCC_PLL_MUL9;
  if (HAL_RCC_OscConfig(&RCC_OscInitStruct) != HAL_OK)
  {
    Error_Handler();
  }

  /** Initializes the CPU, AHB and APB buses clocks
  */
  RCC_ClkInitStruct.ClockType = RCC_CLOCKTYPE_HCLK|RCC_CLOCKTYPE_SYSCLK
                              |RCC_CLOCKTYPE_PCLK1|RCC_CLOCKTYPE_PCLK2;
  RCC_ClkInitStruct.SYSCLKSource = RCC_SYSCLKSOURCE_PLLCLK;
  RCC_ClkInitStruct.AHBCLKDivider = RCC_SYSCLK_DIV1;
  RCC_ClkInitStruct.APB1CLKDivider = RCC_HCLK_DIV2;
  RCC_ClkInitStruct.APB2CLKDivider = RCC_HCLK_DIV1;

  if (HAL_RCC_ClockConfig(&RCC_ClkInitStruct, FLASH_LATENCY_2) != HAL_OK)
  {
    Error_Handler();
  }
}

static void MX_SPI1_Init(void)
{

  /* SPI1 parameter configuration*/
  hspi1.Instance = SPI1;
  hspi1.Init.Mode = SPI_MODE_MASTER;
  hspi1.Init.Direction = SPI_DIRECTION_2LINES;
  hspi1.Init.DataSize = SPI_DATASIZE_8BIT;
  hspi1.Init.CLKPolarity = SPI_POLARITY_LOW;
  hspi1.Init.CLKPhase = SPI_PHASE_1EDGE;
  hspi1.Init.NSS = SPI_NSS_SOFT;
  hspi1.Init.BaudRatePrescaler = SPI_BAUDRATEPRESCALER_8;
  hspi1.Init.FirstBit = SPI_FIRSTBIT_MSB;
  hspi1.Init.TIMode = SPI_TIMODE_DISABLE;
  hspi1.Init.CRCCalculation = SPI_CRCCALCULATION_DISABLE;
  hspi1.Init.CRCPolynomial = 10;
  if (HAL_SPI_Init(&hspi1) != HAL_OK)
  {
    Error_Handler();
  }

}

static void MX_TIM3_Init(void)
{

  TIM_ClockConfigTypeDef sClockSourceConfig = {0};
  TIM_MasterConfigTypeDef sMasterConfig = {0};

  htim3.Instance = TIM3;
  htim3.Init.Prescaler = 7199;
  htim3.Init.CounterMode = TIM_COUNTERMODE_UP;
  htim3.Init.Period = 9999;
  htim3.Init.ClockDivision = TIM_CLOCKDIVISION_DIV1;
  htim3.Init.AutoReloadPreload = TIM_AUTORELOAD_PRELOAD_DISABLE;
  if (HAL_TIM_Base_Init(&htim3) != HAL_OK)
  {
    Error_Handler();
  }
  sClockSourceConfig.ClockSource = TIM_CLOCKSOURCE_INTERNAL;
  if (HAL_TIM_ConfigClockSource(&htim3, &sClockSourceConfig) != HAL_OK)
  {
    Error_Handler();
  }
  sMasterConfig.MasterOutputTrigger = TIM_TRGO_RESET;
  sMasterConfig.MasterSlaveMode = TIM_MASTERSLAVEMODE_DISABLE;
  if (HAL_TIMEx_MasterConfigSynchronization(&htim3, &sMasterConfig) != HAL_OK)
  {
    Error_Handler();
  }

}

static void MX_USART1_UART_Init(void)
{

  huart1.Instance = USART1;
  huart1.Init.BaudRate = 115200;
  huart1.Init.WordLength = UART_WORDLENGTH_8B;
  huart1.Init.StopBits = UART_STOPBITS_1;
  huart1.Init.Parity = UART_PARITY_NONE;
  huart1.Init.Mode = UART_MODE_TX_RX;
  huart1.Init.HwFlowCtl = UART_HWCONTROL_NONE;
  huart1.Init.OverSampling = UART_OVERSAMPLING_16;
  if (HAL_UART_Init(&huart1) != HAL_OK)
  {
    Error_Handler();
  }

}

static void MX_GPIO_Init(void)
{
  GPIO_InitTypeDef GPIO_InitStruct = {0};

  /* GPIO Ports Clock Enable */
  __HAL_RCC_GPIOD_CLK_ENABLE();
  __HAL_RCC_GPIOA_CLK_ENABLE();

  /*Configure GPIO pin Output Level */
  HAL_GPIO_WritePin(LED0_GPIO_Port, LED0_Pin, GPIO_PIN_RESET);

  /*Configure GPIO pin Output Level */
  HAL_GPIO_WritePin(LED1_GPIO_Port, LED1_Pin, GPIO_PIN_RESET);

  /*Configure GPIO pin : LED0_Pin */
  GPIO_InitStruct.Pin = LED0_Pin;
  GPIO_InitStruct.Mode = GPIO_MODE_OUTPUT_PP;
  GPIO_InitStruct.Pull = GPIO_NOPULL;
  GPIO_InitStruct.Speed = GPIO_SPEED_FREQ_LOW;
  HAL_GPIO_Init(LED0_GPIO_Port, &GPIO_InitStruct);

  /*Configure GPIO pin : LED1_Pin */
  GPIO_InitStruct.Pin = LED1_Pin;
  GPIO_InitStruct.Mode = GPIO_MODE_OUTPUT_PP;
  GPIO_InitStruct.Pull = GPIO_NOPULL;
  GPIO_InitStruct.Speed = GPIO_SPEED_FREQ_LOW;
  HAL_GPIO_Init(LED1_GPIO_Port, &GPIO_InitStruct);

}

void Error_Handler(void)
{
  __disable_irq();
  while (1)
  {
  }
}
